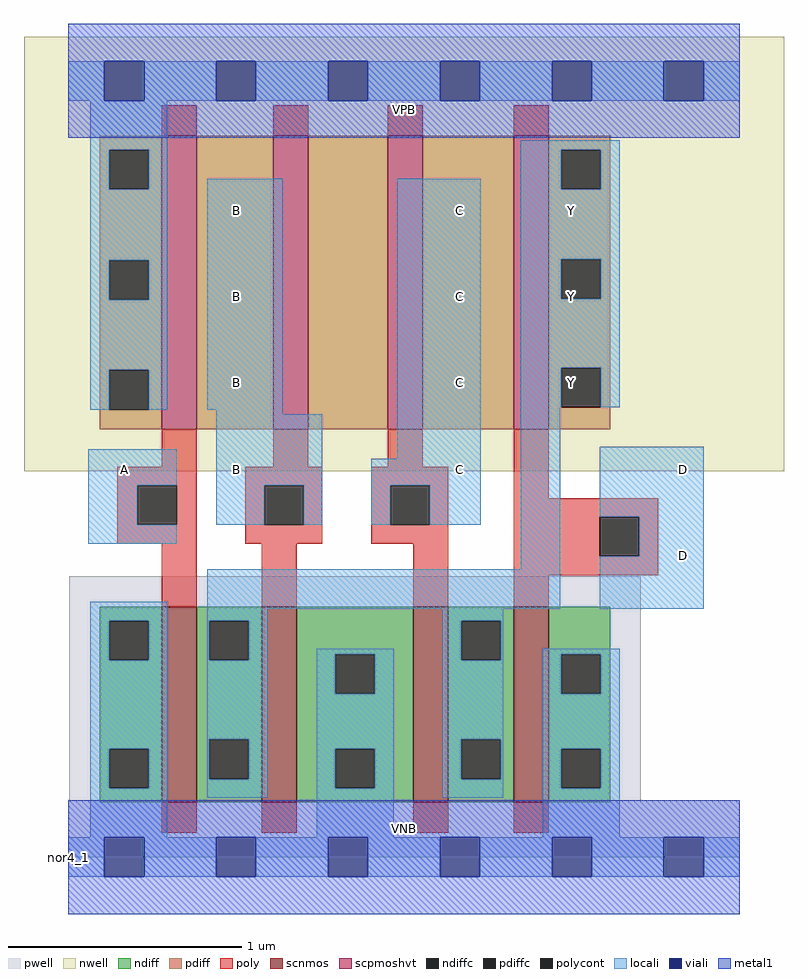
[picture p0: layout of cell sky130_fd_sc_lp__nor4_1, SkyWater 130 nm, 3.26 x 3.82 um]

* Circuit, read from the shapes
.subckt sky130_fd_sc_lp__nor4_1 A B C D VGND VNB VPB VPWR Y
XM1 Y A VGND VNB sky130_fd_pr__nfet_01v8 w=0.84 l=0.15
XM2 VGND B Y VNB sky130_fd_pr__nfet_01v8 w=0.84 l=0.15
XM3 Y C VGND VNB sky130_fd_pr__nfet_01v8 w=0.84 l=0.15
XM4 VGND D Y VNB sky130_fd_pr__nfet_01v8 w=0.84 l=0.15
XM5 n1 A VPWR VPB sky130_fd_pr__pfet_01v8_hvt w=1.26 l=0.15
XM6 n2 B n1 VPB sky130_fd_pr__pfet_01v8_hvt w=1.26 l=0.15
XM7 n3 C n2 VPB sky130_fd_pr__pfet_01v8_hvt w=1.26 l=0.15
XM8 Y D n3 VPB sky130_fd_pr__pfet_01v8_hvt w=1.26 l=0.15
.ends

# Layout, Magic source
magic
tech sky130A
magscale 1 2
<< nwell >>
rect -38 331 614 704
<< pwell >>
rect 1 49 491 241
rect 0 0 576 49
<< scnmos >>
rect 80 47 110 215
rect 166 47 196 215
rect 296 47 326 215
rect 382 47 412 215
<< scpmoshvt >>
rect 80 367 110 619
rect 176 367 206 619
rect 274 367 304 619
rect 382 367 412 619
<< ndiff >>
rect 27 203 80 215
rect 27 169 35 203
rect 69 169 80 203
rect 27 93 80 169
rect 27 59 35 93
rect 69 59 80 93
rect 27 47 80 59
rect 110 203 166 215
rect 110 169 121 203
rect 155 169 166 203
rect 110 101 166 169
rect 110 67 121 101
rect 155 67 166 101
rect 110 47 166 67
rect 196 174 296 215
rect 196 140 229 174
rect 263 140 296 174
rect 196 93 296 140
rect 196 59 229 93
rect 263 59 296 93
rect 196 47 296 59
rect 326 203 382 215
rect 326 169 337 203
rect 371 169 382 203
rect 326 101 382 169
rect 326 67 337 101
rect 371 67 382 101
rect 326 47 382 67
rect 412 174 465 215
rect 412 140 423 174
rect 457 140 465 174
rect 412 93 465 140
rect 412 59 423 93
rect 457 59 465 93
rect 412 47 465 59
<< pdiff >>
rect 27 607 80 619
rect 27 573 35 607
rect 69 573 80 607
rect 27 512 80 573
rect 27 478 35 512
rect 69 478 80 512
rect 27 418 80 478
rect 27 384 35 418
rect 69 384 80 418
rect 27 367 80 384
rect 110 367 176 619
rect 206 367 274 619
rect 304 367 382 619
rect 412 607 465 619
rect 412 573 423 607
rect 457 573 465 607
rect 412 513 465 573
rect 412 479 423 513
rect 457 479 465 513
rect 412 420 465 479
rect 412 386 423 420
rect 457 386 465 420
rect 412 367 465 386
<< ndiffc >>
rect 35 169 69 203
rect 35 59 69 93
rect 121 169 155 203
rect 121 67 155 101
rect 229 140 263 174
rect 229 59 263 93
rect 337 169 371 203
rect 337 67 371 101
rect 423 140 457 174
rect 423 59 457 93
<< pdiffc >>
rect 35 573 69 607
rect 35 478 69 512
rect 35 384 69 418
rect 423 573 457 607
rect 423 479 457 513
rect 423 386 457 420
<< poly >>
rect 80 619 110 645
rect 176 619 206 645
rect 274 619 304 645
rect 382 619 412 645
rect 80 335 110 367
rect 176 335 206 367
rect 274 335 304 367
rect 42 319 110 335
rect 42 285 59 319
rect 93 285 110 319
rect 42 269 110 285
rect 152 319 218 335
rect 152 285 168 319
rect 202 285 218 319
rect 152 269 218 285
rect 260 319 326 335
rect 260 285 276 319
rect 310 285 326 319
rect 260 269 326 285
rect 80 215 110 269
rect 166 215 196 269
rect 296 215 326 269
rect 382 308 412 367
rect 382 292 506 308
rect 382 258 456 292
rect 490 258 506 292
rect 382 242 506 258
rect 382 215 412 242
rect 80 21 110 47
rect 166 21 196 47
rect 296 21 326 47
rect 382 21 412 47
<< polycont >>
rect 59 285 93 319
rect 168 285 202 319
rect 276 285 310 319
rect 456 258 490 292
<< locali >>
rect 0 649 31 683
rect 65 649 127 683
rect 161 649 223 683
rect 257 649 319 683
rect 353 649 415 683
rect 449 649 511 683
rect 545 649 576 683
rect 19 607 85 649
rect 19 573 35 607
rect 69 573 85 607
rect 388 607 473 615
rect 19 512 85 573
rect 19 478 35 512
rect 69 478 85 512
rect 19 418 85 478
rect 19 384 35 418
rect 69 384 85 418
rect 119 384 184 582
rect 127 380 184 384
rect 17 319 93 350
rect 17 285 59 319
rect 127 319 218 380
rect 282 342 354 582
rect 127 285 168 319
rect 202 285 218 319
rect 260 319 354 342
rect 260 285 276 319
rect 310 285 354 319
rect 388 573 423 607
rect 457 573 473 607
rect 388 513 473 573
rect 388 479 423 513
rect 457 479 473 513
rect 388 420 473 479
rect 388 386 423 420
rect 457 386 473 420
rect 17 269 93 285
rect 388 247 422 386
rect 19 203 85 219
rect 19 169 35 203
rect 69 169 85 203
rect 19 93 85 169
rect 19 59 35 93
rect 69 59 85 93
rect 19 17 85 59
rect 119 213 422 247
rect 456 292 545 352
rect 490 258 545 292
rect 456 213 545 258
rect 119 203 171 213
rect 119 169 121 203
rect 155 169 171 203
rect 321 203 373 213
rect 119 101 171 169
rect 119 67 121 101
rect 155 67 171 101
rect 119 51 171 67
rect 213 174 279 179
rect 213 140 229 174
rect 263 140 279 174
rect 213 93 279 140
rect 213 59 229 93
rect 263 59 279 93
rect 213 17 279 59
rect 321 169 337 203
rect 371 169 373 203
rect 321 101 373 169
rect 321 67 337 101
rect 371 67 373 101
rect 321 51 373 67
rect 407 174 473 179
rect 407 140 423 174
rect 457 140 473 174
rect 407 93 473 140
rect 407 59 423 93
rect 457 59 473 93
rect 407 17 473 59
rect 0 -17 31 17
rect 65 -17 127 17
rect 161 -17 223 17
rect 257 -17 319 17
rect 353 -17 415 17
rect 449 -17 511 17
rect 545 -17 576 17
<< viali >>
rect 31 649 65 683
rect 127 649 161 683
rect 223 649 257 683
rect 319 649 353 683
rect 415 649 449 683
rect 511 649 545 683
rect 31 -17 65 17
rect 127 -17 161 17
rect 223 -17 257 17
rect 319 -17 353 17
rect 415 -17 449 17
rect 511 -17 545 17
<< metal1 >>
rect 0 683 576 715
rect 0 649 31 683
rect 65 649 127 683
rect 161 649 223 683
rect 257 649 319 683
rect 353 649 415 683
rect 449 649 511 683
rect 545 649 576 683
rect 0 617 576 649
rect 0 17 576 49
rect 0 -17 31 17
rect 65 -17 127 17
rect 161 -17 223 17
rect 257 -17 319 17
rect 353 -17 415 17
rect 449 -17 511 17
rect 545 -17 576 17
rect 0 -49 576 -17
<< labels >>
flabel pwell s 0 0 576 49 0 FreeSans 200 0 0 0 VNB
port 6 nsew ground bidirectional
flabel nwell s 0 617 576 666 0 FreeSans 200 0 0 0 VPB
port 7 nsew power bidirectional
rlabel comment s 0 0 0 0 4 nor4_1
flabel metal1 s 0 617 576 666 0 FreeSans 340 0 0 0 VPWR
port 8 nsew power bidirectional
flabel metal1 s 0 0 576 49 0 FreeSans 340 0 0 0 VGND
port 5 nsew ground bidirectional
flabel locali s 31 316 65 350 0 FreeSans 340 0 0 0 A
port 1 nsew signal input
flabel locali s 127 316 161 350 0 FreeSans 340 0 0 0 B
port 2 nsew signal input
flabel locali s 319 316 353 350 0 FreeSans 340 0 0 0 C
port 3 nsew signal input
flabel locali s 511 242 545 276 0 FreeSans 340 0 0 0 D
port 4 nsew signal input
flabel locali s 511 316 545 350 0 FreeSans 340 0 0 0 D
port 4 nsew signal input
flabel locali s 415 390 449 424 0 FreeSans 340 0 0 0 Y
port 9 nsew signal output
flabel locali s 415 538 449 572 0 FreeSans 340 0 0 0 Y
port 9 nsew signal output
flabel locali s 415 464 449 498 0 FreeSans 340 0 0 0 Y
port 9 nsew signal output
flabel locali s 319 538 353 572 0 FreeSans 340 0 0 0 C
port 3 nsew signal input
flabel locali s 319 464 353 498 0 FreeSans 340 0 0 0 C
port 3 nsew signal input
flabel locali s 319 390 353 424 0 FreeSans 340 0 0 0 C
port 3 nsew signal input
flabel locali s 127 538 161 572 0 FreeSans 340 0 0 0 B
port 2 nsew signal input
flabel locali s 127 464 161 498 0 FreeSans 340 0 0 0 B
port 2 nsew signal input
flabel locali s 127 390 161 424 0 FreeSans 340 0 0 0 B
port 2 nsew signal input
<< properties >>
string LEFsite unit
string LEFclass CORE
string FIXED_BBOX 0 0 576 666
string GDS_FILE $PDKPATH/libs.ref/sky130_fd_sc_lp/gds/sky130_fd_sc_lp.gds
string LEFsymmetry X Y R90
string GDS_END 4159220
string GDS_START 4152948
<< end >>
